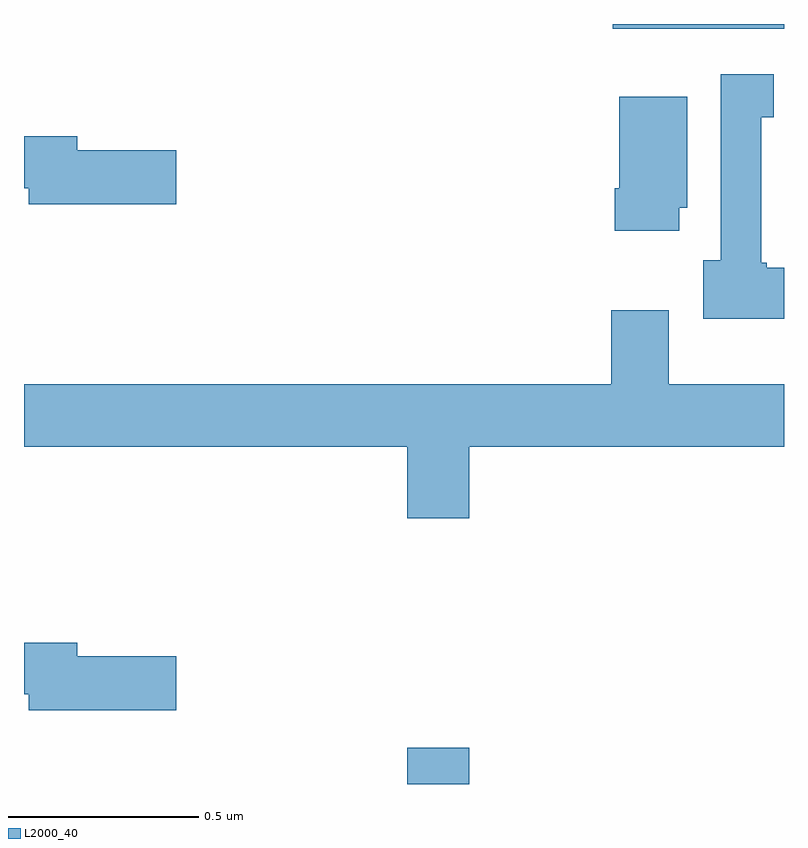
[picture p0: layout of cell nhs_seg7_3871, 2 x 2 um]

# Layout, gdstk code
import gdstk
lib = gdstk.Library(unit=1e-6, precision=1e-09)
def R(c, l, rs):  # rectangles x0, y0, x1, y1
    for r in rs: c.add(gdstk.rectangle(r[:2], r[2:], *l))
def P(c, l, *ps):  # polygons
    for p in ps: c.add(gdstk.Polygon(p, *l))
L2000_40 = (2000, 40)

nhs_seg7_3871 = lib.new_cell('nhs_seg7_3871')
R(nhs_seg7_3871, L2000_40, [(165.008,1061,165.172,1061.095), (165.549,1062.987,166,1063)])
P(nhs_seg7_3871, L2000_40, [(166,1062.358),(165.954,1062.358),(165.954,1062.372),(165.94,1062.372),(165.94,1062.755),(165.973,1062.755),(165.973,1062.868),(165.833,1062.868),(165.833,1062.378),(165.788,1062.378),(165.788,1062.224),(166,1062.224)],
  [(165.724,1062.516),(165.745,1062.516),(165.745,1062.808),(165.566,1062.808),(165.566,1062.568),(165.554,1062.568),(165.554,1062.456),(165.724,1062.456)],
  [(164.401,1062.668),(164.14,1062.668),(164.14,1062.704),(164,1062.704),(164,1062.568),(164.012,1062.568),(164.012,1062.526),(164.401,1062.526)],
  [(165.172,1061.888),(166,1061.888),(166,1062.052),(165.697,1062.052),(165.697,1062.247),(165.545,1062.247),(165.545,1062.052),(164,1062.052),(164,1061.888),(165.008,1061.888),(165.008,1061.7),(165.172,1061.7)],
  [(164.401,1061.336),(164.14,1061.336),(164.14,1061.372),(164,1061.372),(164,1061.236),(164.012,1061.236),(164.012,1061.194),(164.401,1061.194)])

lib.write_gds('nhs_seg7_3871.gds')
